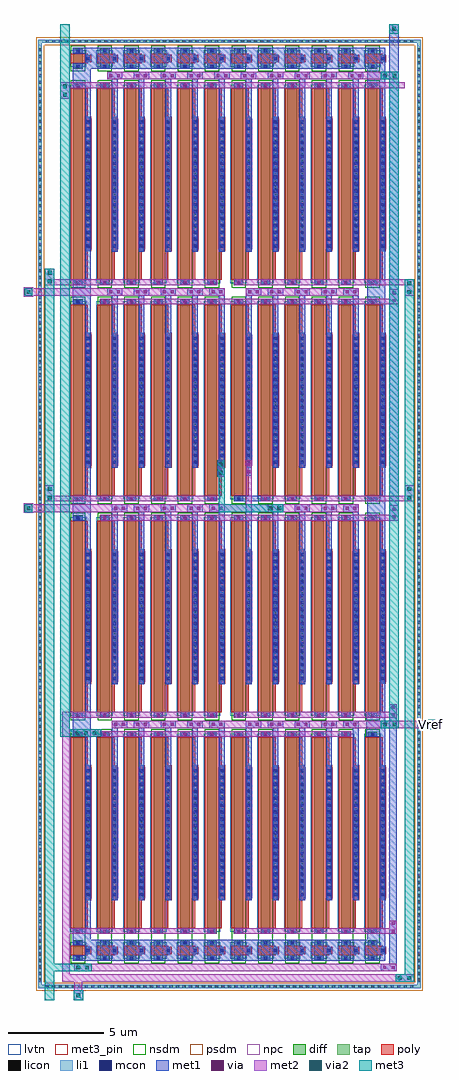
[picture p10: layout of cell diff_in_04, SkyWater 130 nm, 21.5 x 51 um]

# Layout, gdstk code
from math import pi, radians
import gdstk
lib = gdstk.Library(unit=1e-6, precision=1e-09)
def R(c, l, rs):  # rectangles x0, y0, x1, y1
    for r in rs: c.add(gdstk.rectangle(r[:2], r[2:], *l))
def A(c, l, x, y, w, h, nx, ny, dx, dy):  # array of equal rectangles
    R(c, l, [(x+i*dx, y+j*dy, x+i*dx+w, y+j*dy+h) for i in range(nx) for j in range(ny)])
diff = (65, 20)
tap = (65, 44)
poly = (66, 20)
licon = (66, 44)
li1 = (67, 20)
mcon = (67, 44)
met1 = (68, 20)
via = (68, 44)
met2 = (69, 20)
via2 = (69, 44)
met3_pin = (70, 16)
met3 = (70, 20)
nsdm = (93, 44)
psdm = (94, 20)
npc = (95, 20)
lvtn = (125, 44)

sky130_fd_pr__nfet_01v8_ = lib.new_cell('sky130_fd_pr__nfet_01v8_lvt_QGYFYD')
R(sky130_fd_pr__nfet_01v8_, diff, [(-0.54,-0.405,0.54,0.095)])
R(sky130_fd_pr__nfet_01v8_, poly, [(-0.25,-0.535,0.25,0.37), (-0.2,0.37,0.2,0.535)])
R(sky130_fd_pr__nfet_01v8_, licon, [(-0.48,-0.24,-0.31,-0.07), (0.31,-0.24,0.48,-0.07), (-0.085,0.285,0.085,0.455)])
R(sky130_fd_pr__nfet_01v8_, li1, [(-0.48,-0.37,-0.31,0.06), (0.31,-0.37,0.48,0.06), (-0.2,0.285,0.2,0.455)])
R(sky130_fd_pr__nfet_01v8_, mcon, [(-0.48,-0.24,-0.31,-0.07), (0.31,-0.24,0.48,-0.07), (-0.085,0.285,0.085,0.455)])
R(sky130_fd_pr__nfet_01v8_, met1, [(-0.51,-0.35,-0.28,0.04), (0.28,-0.35,0.51,0.04), (-0.18,0.255,0.18,0.485)])
R(sky130_fd_pr__nfet_01v8_, nsdm, [(-0.665,-0.53,0.665,0.22)])
R(sky130_fd_pr__nfet_01v8_, npc, [(-0.185,0.185,0.185,0.555)])
R(sky130_fd_pr__nfet_01v8_, lvtn, [(-0.43,-0.585,0.43,0.275)])

c_sky130_fd_pr__nfet_01v8_ = lib.new_cell('sky130_fd_pr__nfet_01v8_lvt_G235U9')
R(c_sky130_fd_pr__nfet_01v8_, diff, [(-5.29,-0.405,5.29,0.095)])
R(c_sky130_fd_pr__nfet_01v8_, poly, [(-5,-0.535,5,0.37), (-3.525,0.37,3.525,0.535)])
A(c_sky130_fd_pr__nfet_01v8_, licon, -3.315, 0.285, 0.17, 0.17, 20, 1, 0.34, 0)
R(c_sky130_fd_pr__nfet_01v8_, licon, [(-5.23,-0.24,-5.06,-0.07), (5.06,-0.24,5.23,-0.07)])
R(c_sky130_fd_pr__nfet_01v8_, li1, [(-5.23,-0.37,-5.06,0.06), (5.06,-0.37,5.23,0.06), (-3.525,0.285,3.525,0.455)])
A(c_sky130_fd_pr__nfet_01v8_, mcon, -3.325, 0.285, 0.17, 0.17, 19, 1, 0.36, 0)
R(c_sky130_fd_pr__nfet_01v8_, mcon, [(-5.23,-0.24,-5.06,-0.07), (5.06,-0.24,5.23,-0.07)])
R(c_sky130_fd_pr__nfet_01v8_, met1, [(-5.26,-0.35,-5.03,0.04), (5.03,-0.35,5.26,0.04), (-3.505,0.255,3.505,0.485)])
R(c_sky130_fd_pr__nfet_01v8_, nsdm, [(-5.415,-0.53,5.415,0.22)])
R(c_sky130_fd_pr__nfet_01v8_, npc, [(-3.415,0.185,3.415,0.555)])
R(c_sky130_fd_pr__nfet_01v8_, lvtn, [(-5.18,-0.585,5.18,0.275)])

diff_in_04 = lib.new_cell('diff_in_04')
R(diff_in_04, tap, [(-1.785,-2.835,18.185,-2.665), (-1.785,-2.665,-1.615,46.565), (18.015,-2.665,18.185,46.565), (-1.785,46.565,18.185,46.735)])
A(diff_in_04, licon, -1.405, -2.835, 0.17, 0.17, 57, 2, 0.34, 49.4)
A(diff_in_04, licon, -1.785, -2.495, 0.17, 0.17, 1, 144, 0, 0.34)
A(diff_in_04, licon, 18.015, -2.495, 0.17, 0.17, 1, 144, 0, 0.34)
R(diff_in_04, li1, [(-1.785,-2.835,18.185,-2.665), (-1.785,-2.665,-1.615,46.565), (18.015,-2.665,18.185,46.565), (-1.785,46.565,18.185,46.735)])
A(diff_in_04, met1, 1.45, 0, 0.45, 0.3, 10, 2, 1.4, 10.3)
A(diff_in_04, met1, 0.65, 0.3, 0.3, 10, 1, 4, 0, 11.3)
A(diff_in_04, met1, 16.05, 0.3, 0.3, 10, 1, 4, 0, 11.3)
A(diff_in_04, met1, 2.05, 1.75, 0.3, 9, 10, 2, 1.4, 11.3)
A(diff_in_04, met1, 0, 10.3, 0.95, 1.3, 1, 3, 0, 11.3)
A(diff_in_04, met1, 3.2, 10.75, 0.8, 0.4, 3, 2, 1.4, 11.3)
A(diff_in_04, met1, 7.15, 10.75, 0.8, 0.4, 1, 3, 0, 11.3)
A(diff_in_04, met1, 10.2, 10.75, 0.8, 0.4, 3, 2, 1.4, 22.6)
A(diff_in_04, met1, 14.15, 10.75, 0.8, 0.4, 1, 3, 0, 11.3)
A(diff_in_04, met1, 1.45, 11.3, 0.45, 0.3, 10, 2, 1.4, 10.3)
A(diff_in_04, met1, 1.45, 22.6, 0.45, 0.3, 5, 1, 1.4, 0)
A(diff_in_04, met1, 11.25, 22.6, 0.45, 0.3, 3, 1, 1.4, 0)
A(diff_in_04, met1, 2.05, 24.35, 0.3, 9, 4, 1, 1.4, 0)
A(diff_in_04, met1, 10.45, 24.35, 0.3, 9, 4, 1, 1.4, 0)
A(diff_in_04, met1, 1.45, 32.9, 0.45, 0.3, 10, 2, 1.4, 1)
A(diff_in_04, met1, 1.8, 33.35, 0.8, 0.4, 4, 1, 1.4, 0)
A(diff_in_04, met1, 2.05, 35.65, 0.3, 9, 10, 1, 1.4, 0)
A(diff_in_04, met1, 1.45, 44.2, 0.45, 0.3, 10, 1, 1.4, 0)
A(diff_in_04, met1, 1.8, 44.65, 0.8, 0.4, 10, 1, 1.4, 0)
R(diff_in_04, met1, [(16.1,-1.95,16.95,-1.55), (16.55,-1.55,16.95,12), (0,-1.4,16.35,-1.1), (0.65,-1.1,16.35,-0.6), (0,-0.6,16.35,-0.3), (0,-0.3,0.95,0.3), (15.4,-0.3,16.35,0.3), (15.35,10.3,16.35,11.6), (2.05,10.75,2.85,11.15), (9.05,10.75,9.85,11.15), (15.4,21.6,16.35,22.9), (16.55,21.6,17.05,47.55), (2.05,22.05,2.85,22.45), (9.05,22.05,11,22.45), (11.6,22.05,12.4,22.45), (13,22.05,13.8,22.45), (8.45,22.6,10.3,22.9), (7.55,23.9,7.95,24.75), (9.05,23.95,9.35,33.35), (7.65,24.75,7.95,33.35), (15.4,32.9,16.35,34.2), (9.05,33.35,9.85,33.75), (0,44.2,0.95,45.2), (15.4,44.2,16.35,45.2), (0,45.2,16.35,45.5), (0.65,45.5,16.35,46), (0,46,16.35,46.3)])
A(diff_in_04, via, 1.6, 0.075, 0.15, 0.15, 10, 2, 1.4, 10.3)
A(diff_in_04, via, 3.325, 10.875, 0.15, 0.15, 1, 4, 0, 11.3)
A(diff_in_04, via, 3.725, 10.875, 0.15, 0.15, 1, 4, 0, 11.3)
A(diff_in_04, via, 4.725, 10.875, 0.15, 0.15, 1, 4, 0, 11.3)
A(diff_in_04, via, 5.125, 10.875, 0.15, 0.15, 1, 4, 0, 11.3)
A(diff_in_04, via, 6.125, 10.875, 0.15, 0.15, 1, 4, 0, 11.3)
A(diff_in_04, via, 6.525, 10.875, 0.15, 0.15, 1, 4, 0, 11.3)
A(diff_in_04, via, 7.275, 10.875, 0.15, 0.15, 1, 3, 0, 11.3)
A(diff_in_04, via, 10.725, 10.875, 0.15, 0.15, 1, 4, 0, 11.3)
A(diff_in_04, via, 11.725, 10.875, 0.15, 0.15, 1, 4, 0, 11.3)
A(diff_in_04, via, 12.125, 10.875, 0.15, 0.15, 1, 4, 0, 11.3)
A(diff_in_04, via, 13.125, 10.875, 0.15, 0.15, 1, 4, 0, 11.3)
A(diff_in_04, via, 13.525, 10.875, 0.15, 0.15, 1, 4, 0, 11.3)
A(diff_in_04, via, 14.275, 10.875, 0.15, 0.15, 1, 3, 0, 11.3)
A(diff_in_04, via, 14.675, 10.875, 0.15, 0.15, 1, 3, 0, 11.3)
A(diff_in_04, via, 1.6, 11.375, 0.15, 0.15, 10, 2, 1.4, 10.3)
A(diff_in_04, via, 1.6, 22.675, 0.15, 0.15, 5, 1, 1.4, 0)
A(diff_in_04, via, 10, 22.675, 0.15, 0.15, 4, 1, 1.4, 0)
A(diff_in_04, via, 1.6, 32.975, 0.15, 0.15, 10, 2, 1.4, 1)
A(diff_in_04, via, 1.6, 44.275, 0.15, 0.15, 10, 1, 1.4, 0)
R(diff_in_04, via, [(16.225,-1.825,16.375,-1.675), (16.675,-1.825,16.825,-1.675), (16.675,0.075,16.825,0.225), (16.675,0.475,16.825,0.625), (2.175,10.875,2.325,11.025), (2.575,10.875,2.725,11.025), (7.675,10.875,7.825,11.025), (9.175,10.875,9.325,11.025), (9.575,10.875,9.725,11.025), (10.325,10.875,10.475,11.025), (16.675,11.375,16.825,11.525), (16.675,11.775,16.825,11.925), (16.725,21.725,16.875,21.875), (16.725,22.125,16.875,22.275), (2.175,22.175,2.325,22.325), (2.575,22.175,2.725,22.325), (7.675,22.175,7.825,22.325), (10.3,22.175,10.45,22.325), (7.675,24.025,7.825,24.175), (9.125,24.075,9.275,24.225), (7.675,24.475,7.825,24.625), (9.125,24.475,9.275,24.625), (16.725,33.025,16.875,33.175), (16.725,33.425,16.875,33.575), (1.925,33.475,2.075,33.625), (2.325,33.475,2.475,33.625), (7.675,33.475,7.825,33.625), (9.175,33.475,9.325,33.625), (9.575,33.475,9.725,33.625), (10.325,33.475,10.475,33.625), (1.925,44.775,2.075,44.925), (2.325,44.775,2.475,44.925), (7.525,44.775,7.675,44.925), (7.925,44.775,8.075,44.925), (8.925,44.775,9.075,44.925), (9.325,44.775,9.475,44.925), (10.325,44.775,10.475,44.925), (14.525,44.775,14.675,44.925), (14.925,44.775,15.075,44.925), (16.725,47.225,16.875,47.375)])
R(diff_in_04, met2, [(0.05,-3.45,0.55,-2.95), (0.1,-2.95,0.5,-2.5), (-0.55,-2.5,17.85,-2.1), (-0.55,-2.1,-0.15,0), (0.1,-1.95,16.95,-1.55), (-0.55,0,7.5,0.3), (8.45,0,16.95,0.3), (-0.55,0.3,-0.15,11.3), (16.55,0.3,16.95,0.7), (0.05,10.3,14.55,10.6), (0.05,10.6,1.5,10.7), (18.45,10.7,18.95,10.75), (2.05,10.75,18.95,11.15), (18.45,11.15,18.95,11.2), (-0.55,11.3,7.55,11.6), (8.45,11.3,16.95,11.6), (16.55,11.6,16.95,12), (1.45,21.6,17.05,21.9), (16.55,21.9,17.05,22.4), (-2.55,22,-2.05,22.05), (-2.55,22.05,9.35,22.45), (10.2,22.05,14.95,22.45), (-2.55,22.45,-2.05,22.5), (9.05,22.45,9.35,24.75), (-1.45,22.6,7.55,22.9), (9.85,22.6,17.85,22.9), (-1.45,22.9,-0.95,23.45), (17.35,22.9,17.85,23.45), (7.55,23.9,7.95,24.75), (1.45,32.9,17.05,33.2), (16.55,33.2,17.05,33.7), (-2.55,33.3,-2.05,33.35), (-2.55,33.35,7.95,33.75), (9.05,33.35,14.95,33.75), (17.35,33.35,17.85,33.9), (-2.55,33.75,-2.05,33.8), (-1.45,33.9,7.55,34.2), (8.45,33.9,17.85,34.2), (-1.45,34.2,-0.95,34.75), (-0.65,43.65,-0.15,44.2), (-0.65,44.2,17.35,44.5), (1.8,44.65,17.05,45.05), (16.55,47.05,17.05,47.55)])
A(diff_in_04, via2, 0.15, 10.4, 0.2, 0.2, 3, 1, 0.45, 0)
R(diff_in_04, via2, [(0.2,-3.3,0.4,-3.1), (17,-2.4,17.2,-2.2), (17.5,-2.4,17.7,-2.2), (0.2,-1.85,0.4,-1.65), (0.65,-1.85,0.85,-1.65), (16.225,10.85,16.425,11.05), (16.725,10.85,16.925,11.05), (18.6,10.85,18.8,11.05), (-2.4,22.15,-2.2,22.35), (10.25,22.15,10.45,22.35), (10.7,22.15,10.9,22.35), (-1.3,22.7,-1.1,22.9), (17.5,22.7,17.7,22.9), (-1.3,23.15,-1.1,23.35), (17.5,23.15,17.7,23.35), (7.65,24,7.85,24.2), (7.65,24.45,7.85,24.65), (-2.4,33.45,-2.2,33.65), (17.5,33.45,17.7,33.65), (17.5,33.9,17.7,34.1), (-1.3,34,-1.1,34.2), (-1.3,34.45,-1.1,34.65), (-0.5,43.75,-0.3,43.95), (-0.5,44.2,-0.3,44.4), (16.225,44.75,16.425,44.95), (16.725,44.75,16.925,44.95), (16.7,47.2,16.9,47.4)])
R(diff_in_04, met3_pin, [(18.45,10.7,18.95,11.2)])
R(diff_in_04, met3, [(-1.45,-3.45,-0.95,-1.95), (0.05,-3.45,0.55,-2.95), (16.9,-2.5,17.85,-2.1), (17.35,-2.1,17.85,34.2), (-1.45,-1.95,1,-1.55), (-1.45,-1.55,-0.95,34.75), (-0.65,10.3,1.5,10.7), (-0.65,10.7,-0.15,47.55), (18.45,10.7,18.95,11.2), (16.1,10.75,17.05,11.15), (16.55,11.15,17.05,44.65), (-2.5,22.05,-2.1,22.45), (7.65,22.05,11,22.45), (7.65,22.45,7.95,23.9), (7.55,23.9,7.95,24.75), (-2.5,33.35,-2.1,33.75), (16.1,44.65,17.05,45.05), (16.55,47.05,17.05,47.55)])
A(diff_in_04, nsdm, -0.095, -0.195, 0.75, 0.07, 12, 1, 1.4, 0)
R(diff_in_04, psdm, [(-1.91,-2.96,18.31,-2.54), (-1.91,-2.54,-1.49,46.44), (17.89,-2.54,18.31,46.44), (-1.91,46.44,18.31,46.86)])
diff_in_04.add(gdstk.Reference(sky130_fd_pr__nfet_01v8_, (0.435,-0.86), rotation=pi/2, x_reflection=True))
diff_in_04.add(gdstk.Reference(c_sky130_fd_pr__nfet_01v8_, (0.435,5.29), rotation=pi/2, x_reflection=True))
diff_in_04.add(gdstk.Reference(sky130_fd_pr__nfet_01v8_, (1.835,-0.86), rotation=pi/2, x_reflection=True))
diff_in_04.add(gdstk.Reference(c_sky130_fd_pr__nfet_01v8_, (1.835,5.29), rotation=pi/2, x_reflection=True))
diff_in_04.add(gdstk.Reference(sky130_fd_pr__nfet_01v8_, (3.235,-0.86), rotation=pi/2, x_reflection=True))
diff_in_04.add(gdstk.Reference(c_sky130_fd_pr__nfet_01v8_, (3.235,5.29), rotation=pi/2, x_reflection=True))
diff_in_04.add(gdstk.Reference(sky130_fd_pr__nfet_01v8_, (4.635,-0.86), rotation=pi/2, x_reflection=True))
diff_in_04.add(gdstk.Reference(c_sky130_fd_pr__nfet_01v8_, (4.635,5.29), rotation=pi/2, x_reflection=True))
diff_in_04.add(gdstk.Reference(sky130_fd_pr__nfet_01v8_, (6.035,-0.86), rotation=pi/2, x_reflection=True))
diff_in_04.add(gdstk.Reference(c_sky130_fd_pr__nfet_01v8_, (6.035,5.29), rotation=pi/2, x_reflection=True))
diff_in_04.add(gdstk.Reference(sky130_fd_pr__nfet_01v8_, (7.435,-0.86), rotation=pi/2, x_reflection=True))
diff_in_04.add(gdstk.Reference(c_sky130_fd_pr__nfet_01v8_, (7.435,5.29), rotation=pi/2, x_reflection=True))
diff_in_04.add(gdstk.Reference(sky130_fd_pr__nfet_01v8_, (8.835,-0.86), rotation=pi/2, x_reflection=True))
diff_in_04.add(gdstk.Reference(c_sky130_fd_pr__nfet_01v8_, (8.835,5.29), rotation=pi/2, x_reflection=True))
diff_in_04.add(gdstk.Reference(sky130_fd_pr__nfet_01v8_, (10.235,-0.86), rotation=pi/2, x_reflection=True))
diff_in_04.add(gdstk.Reference(c_sky130_fd_pr__nfet_01v8_, (10.235,5.29), rotation=pi/2, x_reflection=True))
diff_in_04.add(gdstk.Reference(sky130_fd_pr__nfet_01v8_, (11.635,-0.86), rotation=pi/2, x_reflection=True))
diff_in_04.add(gdstk.Reference(c_sky130_fd_pr__nfet_01v8_, (11.635,5.29), rotation=pi/2, x_reflection=True))
diff_in_04.add(gdstk.Reference(sky130_fd_pr__nfet_01v8_, (13.035,-0.86), rotation=pi/2, x_reflection=True))
diff_in_04.add(gdstk.Reference(c_sky130_fd_pr__nfet_01v8_, (13.035,5.29), rotation=pi/2, x_reflection=True))
diff_in_04.add(gdstk.Reference(sky130_fd_pr__nfet_01v8_, (14.435,-0.86), rotation=pi/2, x_reflection=True))
diff_in_04.add(gdstk.Reference(c_sky130_fd_pr__nfet_01v8_, (14.435,5.29), rotation=pi/2, x_reflection=True))
diff_in_04.add(gdstk.Reference(sky130_fd_pr__nfet_01v8_, (15.835,-0.86), rotation=pi/2, x_reflection=True))
diff_in_04.add(gdstk.Reference(c_sky130_fd_pr__nfet_01v8_, (15.835,5.29), rotation=pi/2, x_reflection=True))
diff_in_04.add(gdstk.Reference(c_sky130_fd_pr__nfet_01v8_, (0.435,16.59), rotation=pi/2, x_reflection=True))
diff_in_04.add(gdstk.Reference(c_sky130_fd_pr__nfet_01v8_, (1.835,16.59), rotation=pi/2, x_reflection=True))
diff_in_04.add(gdstk.Reference(c_sky130_fd_pr__nfet_01v8_, (3.235,16.59), rotation=pi/2, x_reflection=True))
diff_in_04.add(gdstk.Reference(c_sky130_fd_pr__nfet_01v8_, (4.635,16.59), rotation=pi/2, x_reflection=True))
diff_in_04.add(gdstk.Reference(c_sky130_fd_pr__nfet_01v8_, (6.035,16.59), rotation=pi/2, x_reflection=True))
diff_in_04.add(gdstk.Reference(c_sky130_fd_pr__nfet_01v8_, (7.435,16.59), rotation=pi/2, x_reflection=True))
diff_in_04.add(gdstk.Reference(c_sky130_fd_pr__nfet_01v8_, (8.835,16.59), rotation=pi/2, x_reflection=True))
diff_in_04.add(gdstk.Reference(c_sky130_fd_pr__nfet_01v8_, (10.235,16.59), rotation=pi/2, x_reflection=True))
diff_in_04.add(gdstk.Reference(c_sky130_fd_pr__nfet_01v8_, (11.635,16.59), rotation=pi/2, x_reflection=True))
diff_in_04.add(gdstk.Reference(c_sky130_fd_pr__nfet_01v8_, (13.035,16.59), rotation=pi/2, x_reflection=True))
diff_in_04.add(gdstk.Reference(c_sky130_fd_pr__nfet_01v8_, (14.435,16.59), rotation=pi/2, x_reflection=True))
diff_in_04.add(gdstk.Reference(c_sky130_fd_pr__nfet_01v8_, (15.835,16.59), rotation=pi/2, x_reflection=True))
diff_in_04.add(gdstk.Reference(c_sky130_fd_pr__nfet_01v8_, (0.435,27.89), rotation=pi/2, x_reflection=True))
diff_in_04.add(gdstk.Reference(c_sky130_fd_pr__nfet_01v8_, (1.835,27.89), rotation=pi/2, x_reflection=True))
diff_in_04.add(gdstk.Reference(c_sky130_fd_pr__nfet_01v8_, (3.235,27.89), rotation=pi/2, x_reflection=True))
diff_in_04.add(gdstk.Reference(c_sky130_fd_pr__nfet_01v8_, (4.635,27.89), rotation=pi/2, x_reflection=True))
diff_in_04.add(gdstk.Reference(c_sky130_fd_pr__nfet_01v8_, (6.035,27.89), rotation=pi/2, x_reflection=True))
diff_in_04.add(gdstk.Reference(c_sky130_fd_pr__nfet_01v8_, (7.435,27.89), rotation=pi/2, x_reflection=True))
diff_in_04.add(gdstk.Reference(c_sky130_fd_pr__nfet_01v8_, (8.835,27.89), rotation=pi/2, x_reflection=True))
diff_in_04.add(gdstk.Reference(c_sky130_fd_pr__nfet_01v8_, (10.235,27.89), rotation=pi/2, x_reflection=True))
diff_in_04.add(gdstk.Reference(c_sky130_fd_pr__nfet_01v8_, (11.635,27.89), rotation=pi/2, x_reflection=True))
diff_in_04.add(gdstk.Reference(c_sky130_fd_pr__nfet_01v8_, (13.035,27.89), rotation=pi/2, x_reflection=True))
diff_in_04.add(gdstk.Reference(c_sky130_fd_pr__nfet_01v8_, (14.435,27.89), rotation=pi/2, x_reflection=True))
diff_in_04.add(gdstk.Reference(c_sky130_fd_pr__nfet_01v8_, (15.835,27.89), rotation=pi/2, x_reflection=True))
diff_in_04.add(gdstk.Reference(c_sky130_fd_pr__nfet_01v8_, (0.435,39.19), rotation=pi/2, x_reflection=True))
diff_in_04.add(gdstk.Reference(c_sky130_fd_pr__nfet_01v8_, (1.835,39.19), rotation=pi/2, x_reflection=True))
diff_in_04.add(gdstk.Reference(c_sky130_fd_pr__nfet_01v8_, (3.235,39.19), rotation=pi/2, x_reflection=True))
diff_in_04.add(gdstk.Reference(c_sky130_fd_pr__nfet_01v8_, (4.635,39.19), rotation=pi/2, x_reflection=True))
diff_in_04.add(gdstk.Reference(c_sky130_fd_pr__nfet_01v8_, (6.035,39.19), rotation=pi/2, x_reflection=True))
diff_in_04.add(gdstk.Reference(c_sky130_fd_pr__nfet_01v8_, (7.435,39.19), rotation=pi/2, x_reflection=True))
diff_in_04.add(gdstk.Reference(c_sky130_fd_pr__nfet_01v8_, (8.835,39.19), rotation=pi/2, x_reflection=True))
diff_in_04.add(gdstk.Reference(c_sky130_fd_pr__nfet_01v8_, (10.235,39.19), rotation=pi/2, x_reflection=True))
diff_in_04.add(gdstk.Reference(c_sky130_fd_pr__nfet_01v8_, (11.635,39.19), rotation=pi/2, x_reflection=True))
diff_in_04.add(gdstk.Reference(c_sky130_fd_pr__nfet_01v8_, (13.035,39.19), rotation=pi/2, x_reflection=True))
diff_in_04.add(gdstk.Reference(c_sky130_fd_pr__nfet_01v8_, (14.435,39.19), rotation=pi/2, x_reflection=True))
diff_in_04.add(gdstk.Reference(c_sky130_fd_pr__nfet_01v8_, (15.835,39.19), rotation=pi/2, x_reflection=True))
diff_in_04.add(gdstk.Reference(sky130_fd_pr__nfet_01v8_, (0.435,45.74), rotation=pi/2, x_reflection=True))
diff_in_04.add(gdstk.Reference(sky130_fd_pr__nfet_01v8_, (1.835,45.74), rotation=pi/2, x_reflection=True))
diff_in_04.add(gdstk.Reference(sky130_fd_pr__nfet_01v8_, (3.235,45.74), rotation=pi/2, x_reflection=True))
diff_in_04.add(gdstk.Reference(sky130_fd_pr__nfet_01v8_, (4.635,45.74), rotation=pi/2, x_reflection=True))
diff_in_04.add(gdstk.Reference(sky130_fd_pr__nfet_01v8_, (6.035,45.74), rotation=pi/2, x_reflection=True))
diff_in_04.add(gdstk.Reference(sky130_fd_pr__nfet_01v8_, (7.435,45.74), rotation=pi/2, x_reflection=True))
diff_in_04.add(gdstk.Reference(sky130_fd_pr__nfet_01v8_, (8.835,45.74), rotation=pi/2, x_reflection=True))
diff_in_04.add(gdstk.Reference(sky130_fd_pr__nfet_01v8_, (10.235,45.74), rotation=pi/2, x_reflection=True))
diff_in_04.add(gdstk.Reference(sky130_fd_pr__nfet_01v8_, (11.635,45.74), rotation=pi/2, x_reflection=True))
diff_in_04.add(gdstk.Reference(sky130_fd_pr__nfet_01v8_, (13.035,45.74), rotation=pi/2, x_reflection=True))
diff_in_04.add(gdstk.Reference(sky130_fd_pr__nfet_01v8_, (14.435,45.74), rotation=pi/2, x_reflection=True))
diff_in_04.add(gdstk.Reference(sky130_fd_pr__nfet_01v8_, (15.835,45.74), rotation=pi/2, x_reflection=True))
diff_in_04.add(gdstk.Label('Vref', (18.7,10.95), layer=70, texttype=5))

lib.write_gds('diff_in_04.gds')
